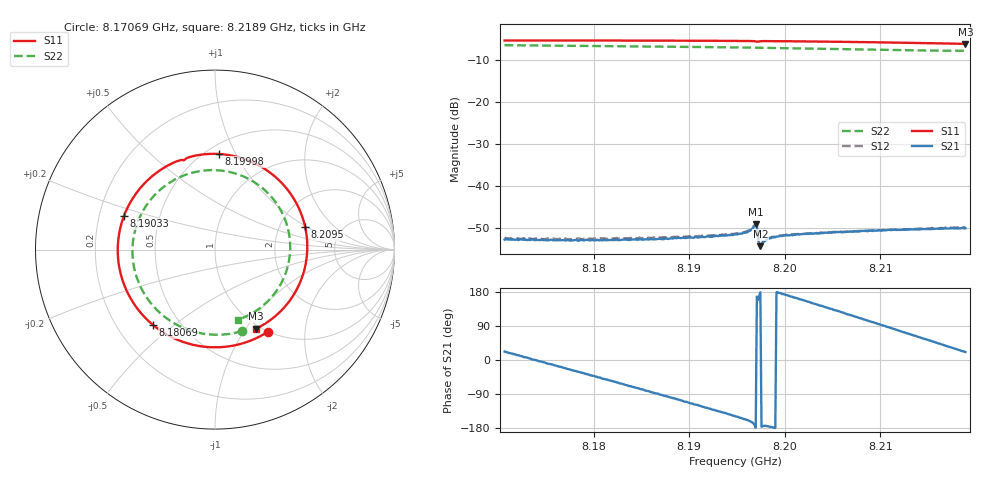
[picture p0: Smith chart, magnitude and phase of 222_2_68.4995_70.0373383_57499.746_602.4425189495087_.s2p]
#  HZ  S  RI  R  50.00
! Rohde & Schwarz Vector Network Analyzer
! Rohde-Schwarz,ZNB20-2Port,1311601062101988,3.16
! Created: UTC 3/20/2024, 4:58:35 PM
! freq[Hz]  re:S11  im:S11  re:S21  im:S21  re:S12  im:S12  re:S22  im:S22
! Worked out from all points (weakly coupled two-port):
!   401 points, 8.17069 GHz to 8.2189 GHz, reference 50 ohm
!   highest |S21| = -49.12 dB at 8.19696 GHz (marker M1); lowest = -54.4 dB at 8.19745 GHz (marker M2)
!   lowest |S11| = -6.1 dB at 8.2189 GHz (marker M3), VSWR 2.97, Z = 47.8 - j55.9 ohm
!   |S11| at or under -10 dB: nowhere
!   |S22| runs from -7.7 to -6.4 dB; largest |S21 - S12| = 0.00021
!   S11 on the Smith chart (normalised r, x): 8.17069 GHz: 1.00, -1.30; 8.18069 GHz: 0.36, -0.42; 8.19033 GHz: 0.31, +0.16; 8.19998 GHz: 0.58, +0.86; 8.2095 GHz: 2.78, +0.95; 8.2189 GHz: 0.96, -1.12
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8.170686e9  0.2962 -0.4567  0.00211 0.000861  0.00222 0.000882  0.1523 -0.4534
8.174785e9  0.0338 -0.5435  0.00223 -0.000226  0.0023 -0.000264  -0.0802 -0.4659
8.178763e9  -0.2317 -0.4921  0.00188 -0.00124  0.0019 -0.00132  -0.283 -0.3726
8.180691e9  -0.344 -0.421  0.00154 -0.00162  0.0016 -0.00174  -0.3596 -0.2963
8.183826e9  -0.4802 -0.2535  0.000815 -0.0021  0.000833 -0.00225  -0.4402 -0.1422
8.186839e9  -0.5395 -0.0532  -1.39e-05 -0.00235  -5.07e-05 -0.00239  -0.459 0.0234
8.190335e9  -0.5073 0.1872  -0.00102 -0.00219  -0.00114 -0.00229  -0.4052 0.2087
8.192505e9  -0.4343 0.3201  -0.00165 -0.00187  -0.00176 -0.00188  -0.3343 0.3059
8.194795e9  -0.3196 0.4327  -0.00225 -0.0014  -0.00231 -0.00134  -0.2338 0.3844
8.196121e9  -0.2386 0.4806  -0.00262 -0.00103  -0.00274 -0.000945  -0.1664 0.4158
8.196844e9  -0.1883 0.499  -0.0033 -0.00047  -0.00336 -0.000342  -0.1275 0.428
8.196965e9  -0.1793 0.4995  -0.0035 -8.32e-05  -0.00357 0.000109  -0.1209 0.4296
8.197447e9  -0.157 0.5098  -0.00191 4.6e-05  -0.00195 0.000115  -0.0946 0.4354
8.197567e9  -0.1484 0.5133  -0.00199 -0.000137  -0.00205 -5.56e-05  -0.088 0.4367
8.198532e9  -0.0798 0.5287  -0.00237 -0.000128  -0.0024 -3.19e-06  -0.0337 0.4424
8.199978e9  0.0226 0.5326  -0.00254 0.00031  -0.00254 0.000455  0.0486 0.4384
8.202871e9  0.2196 0.4819  -0.00234 0.00135  -0.00229 0.00146  0.204 0.3846
8.206367e9  0.4098 0.3264  -0.00152 0.00237  -0.00146 0.00245  0.3504 0.2455
8.209501e9  0.5025 0.1252  -0.000383 0.00289  -0.000276 0.00292  0.4151 0.0716
8.210948e9  0.5143 0.0225  0.000221 0.00298  0.000304 0.00298  0.4181 -0.016
8.214685e9  0.4485 -0.2346  0.00173 0.0025  0.0018 0.00249  0.3415 -0.2319
8.218904e9  0.2293 -0.4401  0.00291 0.00112  0.00306 0.00105  0.1271 -0.3911
